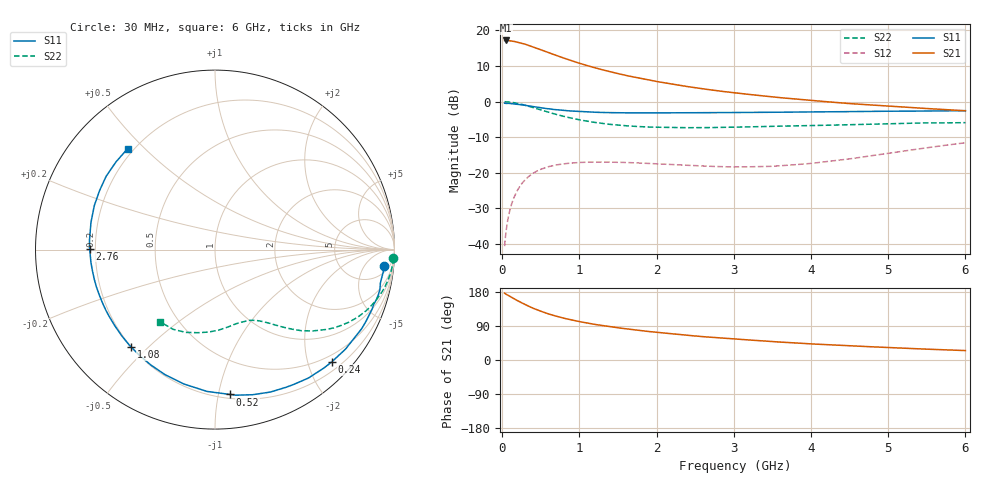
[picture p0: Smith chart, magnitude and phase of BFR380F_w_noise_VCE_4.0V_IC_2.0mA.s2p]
! Infineon Technologies  Discrete & RF Semiconductors
! BFR380F
! VCE =  4.0 V,  IC =  2.0 mA
! Common Emitter S-Parameters:  Nov 2015
# GHz  S  MA  R  50
!  f  S11  S21  S12  S22
! GHz  MAG  ANG  MAG  ANG  MAG  ANG  MAG  ANG
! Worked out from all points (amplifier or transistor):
!   206 points, 30 MHz to 6 GHz, reference 50 ohm
!   highest |S21| = 17.2 dB at 50 MHz (marker M1)
!   |S21| within 3 dB of that: start of sweep to 548.1 MHz
!   unconditionally stable (mu >= 1): 2.798 GHz to 4.994 GHz
!   at 200 MHz: K = 0.06, MSG = 20.7 dB, |S12| = -24.8 dB
!   at 1.56 GHz: K = 0.55, MSG = 12.3 dB, |S12| = -17.1 dB
!   at 6 GHz: K = 0.92, MSG = 4.5 dB, |S12| = -11.6 dB
!   lowest NFmin = 0.77 dB at 450 MHz
!   S11 on the Smith chart (normalised r, x): 30 MHz: 9, -15; 240 MHz: 0.36, -2.44; 520 MHz: 0.23, -1.08; 1.08 GHz: 0.20, -0.44; 2.76 GHz: 0.18, +0.00; 6 GHz: 0.18, +0.45
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0.03  0.9466 -5.7  7.159 176.3  0.0093 87.0  0.9953 -2.8
0.05  0.942 -9.8  7.212 173.3  0.0154 85.0  0.9935 -4.5
0.09  0.9414 -17.2  7.142 168.9  0.0274 80.6  0.9851 -8.2
0.15  0.9282 -28.4  7.012 161.9  0.0444 74.5  0.9647 -13.4
0.2  0.9145 -37.3  6.817 156.2  0.0577 69.7  0.941 -17.5
0.24  0.9025 -43.9  6.635 152.1  0.0674 66.0  0.9198 -20.5
0.3  0.8848 -54.0  6.37 145.8  0.0805 60.9  0.8843 -24.8
0.4  0.8514 -68.8  5.852 136.5  0.0984 53.4  0.8215 -30.9
0.52  0.8113 -84.1  5.244 127.2  0.1138 46.0  0.7499 -36.6
0.64  0.7795 -97.1  4.69 119.2  0.1245 40.0  0.6873 -41.2
0.8  0.7502 -111.8  4.067 110.1  0.1338 33.9  0.6175 -45.9
0.9  0.7354 -119.2  3.734 105.4  0.1371 30.9  0.5827 -48.2
1.04  0.7192 -128.2  3.346 99.8  0.1399 27.7  0.5438 -50.9
1.08  0.7162 -130.6  3.247 98.3  0.1404 26.9  0.5343 -51.6
1.3  0.7023 -141.8  2.788 90.7  0.1414 23.5  0.4924 -55.3
1.5  0.6965 -150.0  2.468 84.9  0.1404 21.6  0.4665 -58.3
2.02  0.6926 -165.5  1.897 72.6  0.1333 20.7  0.4352 -65.9
2.76  0.6986 179.5  1.43 59.1  0.1224 27.2  0.4317 -76.7
3.1  0.7014 174.0  1.292 54.1  0.1208 33.1  0.4386 -81.7
4.1  0.7161 158.6  1.015 41.5  0.1392 52.4  0.4624 -95.8
5.1  0.7314 144.5  0.849 32.1  0.194 63.5  0.4906 -111.1
6  0.744 130.8  0.742 24.9  0.2638 64.1  0.5053 -127.1
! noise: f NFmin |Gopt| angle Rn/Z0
0.45  0.77  0.52  39  0.21
0.9  0.9  0.48  80  0.18
1.8  1.47  0.5  138  0.12
1.9  1.65  0.52  142  0.12
2.4  1.96  0.53  160  0.1
3.5  2.86  0.58  -170  0.13
